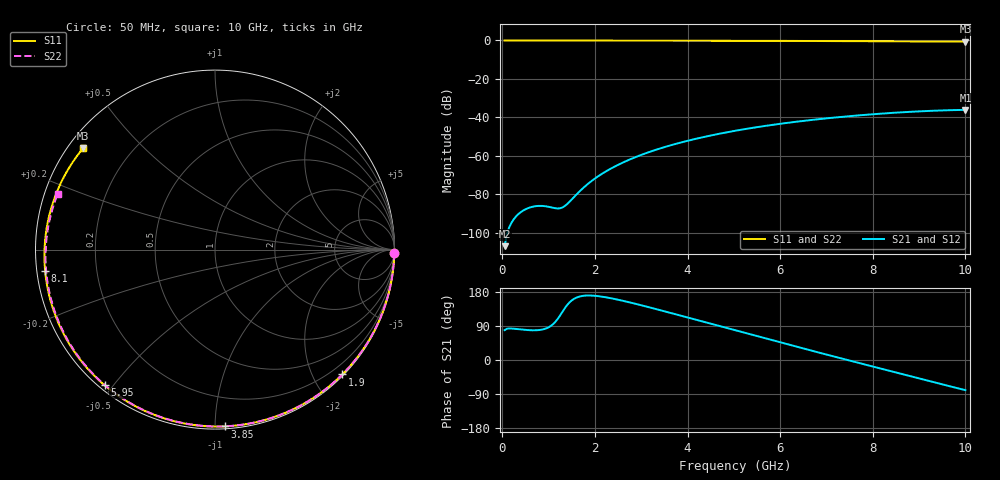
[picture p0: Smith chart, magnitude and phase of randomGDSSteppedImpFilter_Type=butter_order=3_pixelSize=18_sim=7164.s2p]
! freq	dB(S11)	phase(S11)	dB(S12)	phase(S12)
!  dB(S21)	phase(S21)	dB(S22)	phase(S22)
!S-par simulation data
#  GHz  S  DB  R 50
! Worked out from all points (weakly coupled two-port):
!   200 points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, 50 MHz to 10 GHz, reference 50 ohm
!   highest |S21| = -36.05 dB at 10 GHz (marker M1); lowest = -106.8 dB at 50 MHz (marker M2)
!   lowest |S11| = -0.7 dB at 10 GHz (marker M3), VSWR 26.36, Z = 2.11 + j16.9 ohm
!   |S11| at or under -10 dB: nowhere
!   |S22| runs from -0.6 to 0.0 dB; largest |S21 - S12| = 0
!   S11 on the Smith chart (normalised r, x): 50 MHz: open; 1.9 GHz: 0.02, -2.45; 3.85 GHz: 0.01, -1.06; 5.95 GHz: 0.02, -0.48; 8.1 GHz: 0.02, -0.06; 10 GHz: 0.04, +0.34
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0.05  -0.01 -1.1  -106.84 78.8  -106.84 78.8  -0.00 -1.1
0.45  -0.02 -10.7  -88.36 80.0  -88.36 80.0  -0.02 -10.0
0.8  -0.02 -19.0  -85.92 79.1  -85.92 79.1  -0.02 -17.7
1.6  -0.05 -37.6  -80.03 164.6  -80.03 164.6  -0.04 -35.1
1.75  -0.05 -41.0  -76.54 169.4  -76.54 169.4  -0.05 -38.3
1.9  -0.06 -44.4  -73.51 170.2  -73.51 170.2  -0.05 -41.5
2.2  -0.07 -51.2  -68.55 166.3  -68.55 166.3  -0.06 -47.8
2.55  -0.08 -59.0  -64.02 157.7  -64.02 157.7  -0.07 -55.1
2.95  -0.09 -67.7  -59.90 146.0  -59.90 146.0  -0.08 -63.3
3.4  -0.10 -77.4  -56.14 131.8  -56.14 131.8  -0.10 -72.4
3.85  -0.12 -86.8  -53.04 117.2  -53.04 117.2  -0.11 -81.2
4.45  -0.14 -99.2  -49.63 97.4  -49.63 97.4  -0.13 -92.8
5.05  -0.17 -111.3  -46.82 77.6  -46.82 77.6  -0.16 -104.1
5.95  -0.22 -129.2  -43.45 48.1  -43.45 48.1  -0.21 -120.8
6.7  -0.28 -144.0  -41.23 23.9  -41.23 23.9  -0.26 -134.5
7.4  -0.34 -158.1  -39.53 1.7  -39.53 1.7  -0.32 -147.4
8.1  -0.41 -172.7  -38.15 -20.4  -38.15 -20.4  -0.39 -160.6
8.35  -0.44 -178.1  -37.73 -28.3  -37.73 -28.3  -0.42 -165.4
8.8  -0.49 171.9  -37.07 -42.4  -37.07 -42.4  -0.47 -174.3
9.2  -0.54 162.6  -36.61 -54.9  -36.61 -54.9  -0.52 177.6
9.6  -0.60 152.8  -36.26 -67.3  -36.26 -67.3  -0.58 169.2
10  -0.66 142.5  -36.05 -79.6  -36.05 -79.6  -0.63 160.4
